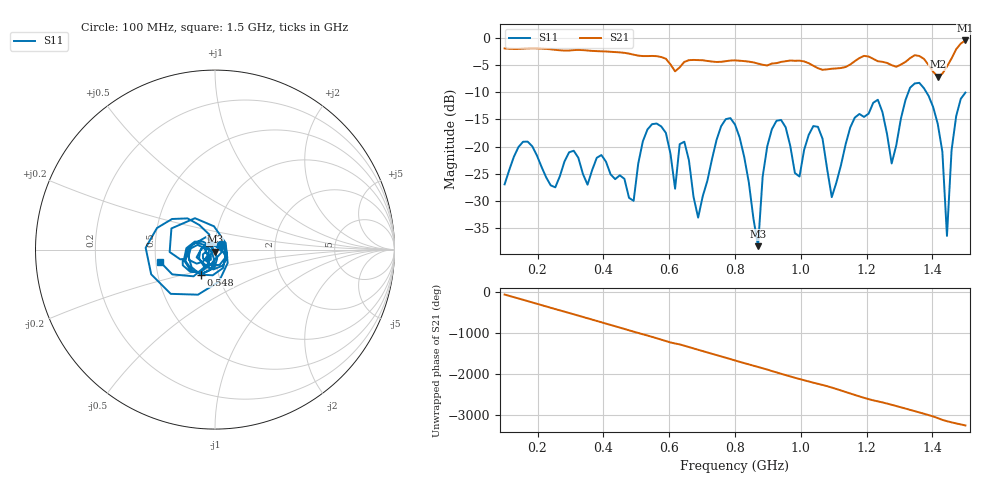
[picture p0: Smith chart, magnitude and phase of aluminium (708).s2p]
! NanoVNA-App
! Date: 2025-09-25 15:00:47
! Start: 100MHz Stop: 1,5GHz Points: 101
! S-Parameter data: F S11 S21 S12 S22
# Hz S RI R 50
!  Frequency  S11_Real  S11_Imag  S21_Real  S21_Imag  S12_Real  S12_Imag  S22_Real  S22_Imag
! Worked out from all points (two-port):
!   101 points, 100 MHz to 1.5 GHz, reference 50 ohm
!   highest |S21| = -0.45 dB at 1.5 GHz (marker M1); lowest = -7.1 dB at 1.416 GHz (marker M2)
!   |S21| within 3 dB of the highest: start of sweep to 571.3 MHz; 1.461 GHz to end of sweep (the widest 2 of 4)
!   lowest |S11| = -38.3 dB at 870 MHz (marker M3), VSWR 1.02, Z = 50 - j1.21 ohm
!   |S11| at or under -10 dB: start of sweep to 1.327 GHz; 1.382 GHz to end of sweep
!   S12 and S22 are empty: the file has one direction only
!   S11 on the Smith chart (normalised r, x): 100 MHz: 1.07, +0.06; 548 MHz: 0.82, -0.23; 1.5 GHz: 0.53, -0.08
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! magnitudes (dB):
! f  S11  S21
! 100 MHz  -27.0  -1.9
! 156 MHz  -19.1  -2.0
! 338 MHz  -25.1  -2.2
! 492 MHz  -30.0  -3.1
! 548 MHz  -15.9  -3.3
! 576 MHz  -16.3  -3.5
! 618 MHz  -27.8  -6.1
! 646 MHz  -19.1  -4.4
! 688 MHz  -33.1  -4.1
! 800 MHz  -15.9  -4.1
! 870 MHz  -38.3  -4.7
! 912 MHz  -16.8  -4.7
! 996 MHz  -25.5  -4.2
! 1.038 GHz  -16.2  -5.1
! 1.094 GHz  -29.3  -5.7
! 1.234 GHz  -11.4  -4.3
! 1.276 GHz  -23.1  -5.0
! 1.346 GHz  -8.4  -3.2
! 1.416 GHz  -15.8  -7.1
! 1.444 GHz  -36.4  -5.3
! 1.458 GHz  -20.7  -3.8
! 1.5 GHz  -10.1  -0.5
